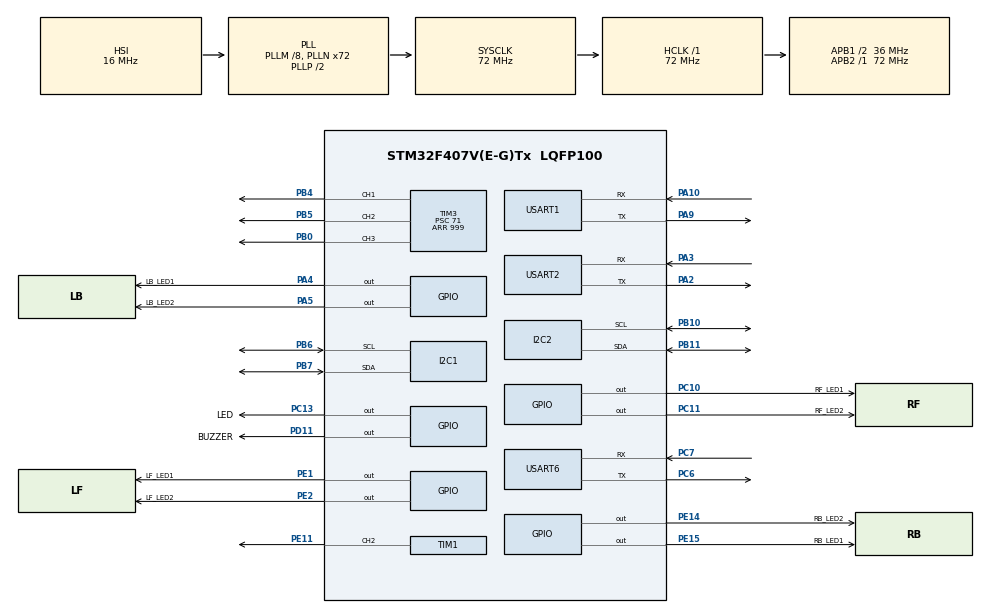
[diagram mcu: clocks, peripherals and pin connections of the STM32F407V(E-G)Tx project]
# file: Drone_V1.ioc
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Dma.I2C2_RX.2.Direction=DMA_PERIPH_TO_MEMORY
Dma.I2C2_RX.2.FIFOMode=DMA_FIFOMODE_DISABLE
Dma.I2C2_RX.2.Instance=DMA1_Stream2
Dma.I2C2_RX.2.MemDataAlignment=DMA_MDATAALIGN_BYTE
Dma.I2C2_RX.2.MemInc=DMA_MINC_ENABLE
Dma.I2C2_RX.2.Mode=DMA_NORMAL
Dma.I2C2_RX.2.PeriphDataAlignment=DMA_PDATAALIGN_BYTE
Dma.I2C2_RX.2.PeriphInc=DMA_PINC_DISABLE
Dma.I2C2_RX.2.Priority=DMA_PRIORITY_LOW
Dma.Request0=USART2_RX
Dma.Request1=USART1_RX
Dma.Request2=I2C2_RX
Dma.Request3=USART6_RX
Dma.USART1_RX.1.Direction=DMA_PERIPH_TO_MEMORY
Dma.USART1_RX.1.FIFOMode=DMA_FIFOMODE_DISABLE
Dma.USART1_RX.1.Instance=DMA2_Stream2
Dma.USART1_RX.1.MemDataAlignment=DMA_MDATAALIGN_BYTE
Dma.USART1_RX.1.MemInc=DMA_MINC_ENABLE
Dma.USART1_RX.1.Mode=DMA_NORMAL
Dma.USART1_RX.1.PeriphDataAlignment=DMA_PDATAALIGN_BYTE
Dma.USART1_RX.1.PeriphInc=DMA_PINC_DISABLE
Dma.USART1_RX.1.Priority=DMA_PRIORITY_LOW
Dma.USART2_RX.0.Direction=DMA_PERIPH_TO_MEMORY
Dma.USART2_RX.0.FIFOMode=DMA_FIFOMODE_DISABLE
Dma.USART2_RX.0.Instance=DMA1_Stream5
Dma.USART2_RX.0.MemDataAlignment=DMA_MDATAALIGN_BYTE
Dma.USART2_RX.0.MemInc=DMA_MINC_ENABLE
Dma.USART2_RX.0.Mode=DMA_NORMAL
Dma.USART2_RX.0.PeriphDataAlignment=DMA_PDATAALIGN_BYTE
Dma.USART2_RX.0.PeriphInc=DMA_PINC_DISABLE
Dma.USART2_RX.0.Priority=DMA_PRIORITY_LOW
Dma.USART6_RX.3.Direction=DMA_PERIPH_TO_MEMORY
Dma.USART6_RX.3.FIFOMode=DMA_FIFOMODE_DISABLE
Dma.USART6_RX.3.Instance=DMA2_Stream1
Dma.USART6_RX.3.MemDataAlignment=DMA_MDATAALIGN_BYTE
Dma.USART6_RX.3.MemInc=DMA_MINC_ENABLE
Dma.USART6_RX.3.Mode=DMA_NORMAL
Dma.USART6_RX.3.PeriphDataAlignment=DMA_PDATAALIGN_BYTE
Dma.USART6_RX.3.PeriphInc=DMA_PINC_DISABLE
Dma.USART6_RX.3.Priority=DMA_PRIORITY_LOW
I2C2.I2C_Mode=I2C_Fast
Mcu.Family=STM32F4
Mcu.Name=STM32F407V(E-G)Tx
Mcu.Package=LQFP100
NVIC.DMA1_Stream2_IRQn=true\:0\:0\:false\:false\:true\:false\:true\:true
NVIC.DMA1_Stream5_IRQn=true\:0\:0\:false\:false\:true\:false\:true\:true
NVIC.DMA2_Stream1_IRQn=true\:0\:0\:false\:false\:true\:false\:true\:true
NVIC.DMA2_Stream2_IRQn=true\:0\:0\:false\:false\:true\:false\:true\:true
NVIC.PriorityGroup=NVIC_PRIORITYGROUP_4
NVIC.TIM4_IRQn=true\:1\:0\:true\:false\:true\:true\:true\:true
NVIC.TIM8_CC_IRQn=true\:0\:0\:true\:false\:true\:true\:true\:true
PA10.Mode=Asynchronous
PA10.Signal=USART1_RX
PA13.Mode=Serial_Wire
PA13.Signal=SYS_JTMS-SWDIO
PA14.Mode=Serial_Wire
PA14.Signal=SYS_JTCK-SWCLK
PA2.Mode=Asynchronous
PA2.Signal=USART2_TX
PA3.Mode=Asynchronous
PA3.Signal=USART2_RX
PA4.GPIO_Label=LB_LED1
PA4.PinState=GPIO_PIN_RESET
PA4.Signal=GPIO_Output
PA5.GPIO_Label=LB_LED2
PA5.PinState=GPIO_PIN_RESET
PA5.Signal=GPIO_Output
PA9.Mode=Asynchronous
PA9.Signal=USART1_TX
PB0.Signal=S_TIM3_CH3
PB10.Mode=I2C
PB10.Signal=I2C2_SCL
PB11.Mode=I2C
PB11.Signal=I2C2_SDA
PB4.Signal=S_TIM3_CH1
PB5.Signal=S_TIM3_CH2
PB6.Mode=I2C
PB6.Signal=I2C1_SCL
PB7.Mode=I2C
PB7.Signal=I2C1_SDA
PC10.GPIO_Label=RF_LED1
PC10.PinState=GPIO_PIN_RESET
PC10.Signal=GPIO_Output
PC11.GPIO_Label=RF_LED2
PC11.PinState=GPIO_PIN_RESET
PC11.Signal=GPIO_Output
PC13-ANTI_TAMP.GPIO_Label=LED
PC13-ANTI_TAMP.Signal=GPIO_Output
PC6.Mode=Asynchronous
PC6.Signal=USART6_TX
PC7.Mode=Asynchronous
PC7.Signal=USART6_RX
PD11.GPIO_Label=BUZZER
PD11.PinState=GPIO_PIN_SET
PD11.Signal=GPIO_Output
PE1.GPIO_Label=LF_LED1
PE1.PinState=GPIO_PIN_RESET
PE1.Signal=GPIO_Output
PE11.Signal=S_TIM1_CH2
PE14.GPIO_Label=RB_LED2
PE14.PinState=GPIO_PIN_RESET
PE14.Signal=GPIO_Output
PE15.GPIO_Label=RB_LED1
PE15.PinState=GPIO_PIN_RESET
PE15.Signal=GPIO_Output
PE2.GPIO_Label=LF_LED2
PE2.PinState=GPIO_PIN_RESET
PE2.Signal=GPIO_Output
PH0-OSC_IN.Mode=HSE-External-Oscillator
PH0-OSC_IN.Signal=RCC_OSC_IN
PH1-OSC_OUT.Mode=HSE-External-Oscillator
PH1-OSC_OUT.Signal=RCC_OSC_OUT
ProjectManager.HeapSize=0x200
ProjectManager.StackSize=0x400
ProjectManager.TargetToolchain=STM32CubeIDE
RCC.48MHZClocksFreq_Value=36000000
RCC.AHBFreq_Value=72000000
RCC.APB1CLKDivider=RCC_HCLK_DIV2
RCC.APB1Freq_Value=36000000
RCC.APB1TimFreq_Value=72000000
RCC.APB2Freq_Value=72000000
RCC.APB2TimFreq_Value=72000000
RCC.CortexFreq_Value=72000000
RCC.HCLKFreq_Value=72000000
RCC.HSE_VALUE=25000000
RCC.HSI_VALUE=16000000
RCC.LSE_VALUE=32768
RCC.PLLM=8
RCC.PLLN=72
RCC.SYSCLKFreq_VALUE=72000000
RCC.SYSCLKSource=RCC_SYSCLKSOURCE_PLLCLK
RCC.VCOOutputFreq_Value=144000000
SH.S_TIM1_CH2.0=TIM1_CH2,PWM Generation2 CH2
SH.S_TIM3_CH1.0=TIM3_CH1,PWM Generation1 CH1
SH.S_TIM3_CH2.0=TIM3_CH2,PWM Generation2 CH2
SH.S_TIM3_CH3.0=TIM3_CH3,PWM Generation3 CH3
TIM1.Channel-PWM\ Generation2\ CH2=TIM_CHANNEL_2
TIM1.Period=19999
TIM1.Prescaler=71
TIM2.Prescaler=71
TIM3.Channel-PWM\ Generation1\ CH1=TIM_CHANNEL_1
TIM3.Channel-PWM\ Generation2\ CH2=TIM_CHANNEL_2
TIM3.Channel-PWM\ Generation3\ CH3=TIM_CHANNEL_3
TIM3.Period=999
TIM3.Prescaler=71
TIM4.AutoReloadPreload=TIM_AUTORELOAD_PRELOAD_ENABLE
TIM4.Period=8999
TIM4.Prescaler=3999
TIM5.Prescaler=71
TIM8.Channel-Output\ Compare2\ No\ Output=TIM_CHANNEL_2
TIM8.Channel-Output\ Compare3\ No\ Output=TIM_CHANNEL_3
TIM8.Channel-Output\ Compare4\ No\ Output=TIM_CHANNEL_4
TIM8.Period=999
TIM8.Prescaler=71
TIM8.Pulse-Output\ Compare2\ No\ Output=100
TIM8.Pulse-Output\ Compare3\ No\ Output=250
TIM8.Pulse-Output\ Compare4\ No\ Output=750
TIM9.Prescaler=7199
USART1.VirtualMode=VM_ASYNC
USART2.VirtualMode=VM_ASYNC
USART6.VirtualMode=VM_ASYNC
VP_TIM1_VS_ClockSourceINT.Mode=Internal
VP_TIM2_VS_ClockSourceINT.Mode=Internal
VP_TIM3_VS_ClockSourceINT.Mode=Internal
VP_TIM4_VS_ClockSourceINT.Mode=Internal
VP_TIM5_VS_ClockSourceINT.Mode=Internal
VP_TIM8_VS_ClockSourceINT.Mode=Internal
VP_TIM8_VS_no_output2.Mode=Output Compare2 No Output
VP_TIM8_VS_no_output3.Mode=Output Compare3 No Output
VP_TIM8_VS_no_output4.Mode=Output Compare4 No Output
VP_TIM9_VS_ClockSourceINT.Mode=Internal
board=custom

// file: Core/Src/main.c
/* USER CODE BEGIN Header */
/**
  ******************************************************************************
  * @file           : main.c
  * @brief          : Main program body
  ******************************************************************************
  * @attention
  *
  * Copyright (c) 2026 STMicroelectronics.
  * All rights reserved.
  *
  * This software is licensed under terms that can be found in the LICENSE file
  * in the root directory of this software component.
  * If no LICENSE file comes with this software, it is provided AS-IS.
  *
  ******************************************************************************
  */
/* USER CODE END Header */
#include "main.h"

/* USER CODE BEGIN Includes */
#include "MPU6050.h"
#include "WT61.h"
#include "PID.h"
#include "GAMEPAD.h"
#include "stdio.h"
#include "string.h"
#include "math.h"

/* USER CODE END Includes */

/* USER CODE BEGIN PD */

extern float roll, pitch;
volatile float angleZ;
extern HAL_StatusTypeDef status;

typedef enum {
	OK = 1,
	SENSOR_CALIBRATING = 2,
	GAMEPAD_DISCOVERY = 3,
	LOCK = 4,
	UNLOCKING = 5,

	ANGLE_STABILITY_FAULT = 0,
	SENSOR_CONNECTION_FAULT = 6,
	GAMEPAD_CONNECTION_FAULT = 7
} DroneStatus;

DroneStatus drone_status;

//int8_t DRONE_STATUS;

typedef enum {
	MOTOR_LF = 0,
	MOTOR_RF = 1,
	MOTOR_LB = 2,
	MOTOR_RB = 3
} MotorSystem;

MotorSystem drone_motor_system;

typedef struct {
	uint16_t MOTOR_LF_SPEED;
	uint16_t MOTOR_RF_SPEED;
	uint16_t MOTOR_LB_SPEED;
	uint16_t MOTOR_RB_SPEED;
	uint16_t throttle;
	uint8_t status;
	uint8_t last_speed_up;
	uint8_t last_speed_down;
} DroneParameters;

DroneParameters drone;
//uint8_t MOTOR_LF_SPEED = 50, MOTOR_RF_SPEED = 50, MOTOR_LB_SPEED = 50, MOTOR_RB_SPEED = 50;

PID roll_controller;
PID pitch_controller;
PID yaw_controller;

float roll_output = 0.0f, pitch_output = 0.0f, yaw_output = 0.0f;

uint32_t c_time = 0;
uint32_t prv_time = 0;
uint32_t duration = 0;

extern GAMEPAD gamepad;

/* USER CODE END PD */

I2C_HandleTypeDef hi2c1;
I2C_HandleTypeDef hi2c2;
DMA_HandleTypeDef hdma_i2c2_rx;

TIM_HandleTypeDef htim1;
TIM_HandleTypeDef htim2;
TIM_HandleTypeDef htim3;
TIM_HandleTypeDef htim4;
TIM_HandleTypeDef htim5;
TIM_HandleTypeDef htim8;
TIM_HandleTypeDef htim9;

UART_HandleTypeDef huart1;
UART_HandleTypeDef huart2;
UART_HandleTypeDef huart6;
DMA_HandleTypeDef hdma_usart1_rx;
DMA_HandleTypeDef hdma_usart2_rx;
DMA_HandleTypeDef hdma_usart6_rx;

void SystemClock_Config(void);
static void MX_GPIO_Init(void);
static void MX_DMA_Init(void);
static void MX_I2C2_Init(void);
static void MX_USART1_UART_Init(void);
static void MX_USART6_UART_Init(void);
static void MX_TIM3_Init(void);
static void MX_I2C1_Init(void);
static void MX_TIM2_Init(void);
static void MX_USART2_UART_Init(void);
static void MX_TIM4_Init(void);
static void MX_TIM1_Init(void);
static void MX_TIM5_Init(void);
static void MX_TIM8_Init(void);
static void MX_TIM9_Init(void);

/* USER CODE BEGIN 0 */
void I2C_ResetDataBusToPullUp(I2C_HandleTypeDef *hi2c);

void DRONE_SetStatus(int8_t STATUS);
void DRONE_SetSpeed(uint8_t MOTOR, uint16_t speed);
float DRONE_LimitThrottle(float throttle, float min_limit, float max_limit);
void DRONE_GamepadDiscovery(void);
void DRONE_GamepadDisconnectionFailSafe(void);
void DRONE_SensorCalibration(void);

void DRONE_ESCSetUp(void); // Plug in 'void' to show that the function does not require any parameters
void DRONE_Hover(uint16_t throttle);
void DRONE_ReceiveCommand();
void DRONE_Unlock();
void DRONE_OnFlight(uint16_t throttle);
void DRONE_EmergencyStop(float angle);

void DRONE_RollLeft();
void DRONE_RollRight();
void DRONE_PitchForward();
void DRONE_PitchBackward();
/* USER CODE END 0 */

int main(void)
{

  /* MCU Configuration--------------------------------------------------------*/

  /* Reset of all peripherals, Initializes the Flash interface and the Systick. */
  HAL_Init();

  /* Configure the system clock */
  SystemClock_Config();

  /* Initialize all configured peripherals */
  MX_GPIO_Init();
  MX_DMA_Init();
  MX_I2C2_Init();
  MX_USART1_UART_Init();
  MX_USART6_UART_Init();
  MX_TIM3_Init();
  MX_I2C1_Init();
  MX_TIM2_Init();
  MX_USART2_UART_Init();
  MX_TIM4_Init();
  MX_TIM1_Init();
  MX_TIM5_Init();
  MX_TIM8_Init();
  MX_TIM9_Init();
  /* USER CODE BEGIN 2 */
  HAL_TIM_Base_Start(&htim2);
  HAL_TIM_PWM_Start(&htim1, TIM_CHANNEL_2);
  HAL_TIM_PWM_Start(&htim3, TIM_CHANNEL_1);
  HAL_TIM_PWM_Start(&htim3, TIM_CHANNEL_2);
  HAL_TIM_PWM_Start(&htim3, TIM_CHANNEL_3);

  /* Prevent I2C Devices from pulling the data bus LOW
  from previous working time + Send a 'STOP' signal */
  I2C_ResetDataBusToPullUp(&hi2c2);

  if(status != HAL_OK){
	  DRONE_SetStatus(SENSOR_CONNECTION_FAULT);
  }
  else{
	  /* The WT61 sensor is specifically used for 'YAW' angle (angleZ) measurement */
	    WT61_Init(&huart1);

	    /* The MPU-6050 sensor measures 'ROLL' angle (angleX) and 'PITCH' angle (angleY)  */
	    MPU6050_Init(&hi2c2, &htim2);

	    /* Calibrate IMU Sensor for at least 2000 milliseconds */
	    DRONE_SetStatus(SENSOR_CALIBRATING);
	    MPU6050_Calibrate(2000);

	    DRONE_SetStatus(OK);
	    /* Send 'START' signal to ESCs */
	    DRONE_ESCSetUp();

	    HAL_TIM_Base_Start_IT(&htim8);
	    HAL_TIM_OC_Start_IT(&htim8, TIM_CHANNEL_2);
	    HAL_TIM_OC_Start_IT(&htim8, TIM_CHANNEL_3);

	    PID_Init(&pitch_controller, 0.0f, 0.0f);
	    PID_Init(&roll_controller, 1000.0f, 2000.0f);
	    PID_Init(&yaw_controller, 0.0f, 0.0f);

	    PID_SetParameters(&roll_controller, 1.5f, 0.01f, 20.0f, 0.0f, roll);
	    HAL_TIM_Base_Start(&htim5);

	    GAMEPAD_Init(&huart6);
	    GAMEPAD_ReceiveData();
	    DRONE_SetStatus(LOCK);

  }

  /* USER CODE END 2 */

  /* Infinite loop */
  /* USER CODE BEGIN WHILE */
  while (1)
  {
	  if(drone.status == UNLOCKING){
		  DRONE_ESCSetUp();
		  DRONE_SetStatus(OK);
	  }

	  if(drone.status == OK){
		  if(roll > 20.0f){
			HAL_GPIO_WritePin(LF_LED1_GPIO_Port, LF_LED1_Pin, 1);
			HAL_GPIO_WritePin(RF_LED1_GPIO_Port, RF_LED1_Pin, 0);
		}
		else if(roll < -20.0f){
			HAL_GPIO_WritePin(LF_LED1_GPIO_Port, LF_LED1_Pin, 0);
			HAL_GPIO_WritePin(RF_LED1_GPIO_Port, RF_LED1_Pin, 1);
		}
		else if(pitch < -20.0f){
			HAL_GPIO_WritePin(LF_LED1_GPIO_Port, LF_LED1_Pin, 1);
			HAL_GPIO_WritePin(RF_LED1_GPIO_Port, RF_LED1_Pin, 1);
		}
		else if(pitch > 20.0f){

		}
		else{
			HAL_GPIO_WritePin(LF_LED1_GPIO_Port, LF_LED1_Pin, 0);
			HAL_GPIO_WritePin(RF_LED1_GPIO_Port, RF_LED1_Pin, 0);

		}
	  }

	  	//	  	pitch_controller->output = PID_Update(pid, angleY, dt;)
    /* USER CODE END WHILE */

  }
}

void SystemClock_Config(void)
{
  RCC_OscInitTypeDef RCC_OscInitStruct = {0};
  RCC_ClkInitTypeDef RCC_ClkInitStruct = {0};

  /** Configure the main internal regulator output voltage
  */
  __HAL_RCC_PWR_CLK_ENABLE();
  __HAL_PWR_VOLTAGESCALING_CONFIG(PWR_REGULATOR_VOLTAGE_SCALE1);

  /** Initializes the RCC Oscillators according to the specified parameters
  * in the RCC_OscInitTypeDef structure.
  */
  RCC_OscInitStruct.OscillatorType = RCC_OSCILLATORTYPE_HSI;
  RCC_OscInitStruct.HSIState = RCC_HSI_ON;
  RCC_OscInitStruct.HSICalibrationValue = RCC_HSICALIBRATION_DEFAULT;
  RCC_OscInitStruct.PLL.PLLState = RCC_PLL_ON;
  RCC_OscInitStruct.PLL.PLLSource = RCC_PLLSOURCE_HSI;
  RCC_OscInitStruct.PLL.PLLM = 8;
  RCC_OscInitStruct.PLL.PLLN = 72;
  RCC_OscInitStruct.PLL.PLLP = RCC_PLLP_DIV2;
  RCC_OscInitStruct.PLL.PLLQ = 4;
  if (HAL_RCC_OscConfig(&RCC_OscInitStruct) != HAL_OK)
  {
    Error_Handler();
  }

  /** Initializes the CPU, AHB and APB buses clocks
  */
  RCC_ClkInitStruct.ClockType = RCC_CLOCKTYPE_HCLK|RCC_CLOCKTYPE_SYSCLK
                              |RCC_CLOCKTYPE_PCLK1|RCC_CLOCKTYPE_PCLK2;
  RCC_ClkInitStruct.SYSCLKSource = RCC_SYSCLKSOURCE_PLLCLK;
  RCC_ClkInitStruct.AHBCLKDivider = RCC_SYSCLK_DIV1;
  RCC_ClkInitStruct.APB1CLKDivider = RCC_HCLK_DIV2;
  RCC_ClkInitStruct.APB2CLKDivider = RCC_HCLK_DIV1;

  if (HAL_RCC_ClockConfig(&RCC_ClkInitStruct, FLASH_LATENCY_2) != HAL_OK)
  {
    Error_Handler();
  }
}

static void MX_I2C1_Init(void)
{

  hi2c1.Instance = I2C1;
  hi2c1.Init.ClockSpeed = 100000;
  hi2c1.Init.DutyCycle = I2C_DUTYCYCLE_2;
  hi2c1.Init.OwnAddress1 = 0;
  hi2c1.Init.AddressingMode = I2C_ADDRESSINGMODE_7BIT;
  hi2c1.Init.DualAddressMode = I2C_DUALADDRESS_DISABLE;
  hi2c1.Init.OwnAddress2 = 0;
  hi2c1.Init.GeneralCallMode = I2C_GENERALCALL_DISABLE;
  hi2c1.Init.NoStretchMode = I2C_NOSTRETCH_DISABLE;
  if (HAL_I2C_Init(&hi2c1) != HAL_OK)
  {
    Error_Handler();
  }

}

static void MX_I2C2_Init(void)
{

  hi2c2.Instance = I2C2;
  hi2c2.Init.ClockSpeed = 400000;
  hi2c2.Init.DutyCycle = I2C_DUTYCYCLE_2;
  hi2c2.Init.OwnAddress1 = 0;
  hi2c2.Init.AddressingMode = I2C_ADDRESSINGMODE_7BIT;
  hi2c2.Init.DualAddressMode = I2C_DUALADDRESS_DISABLE;
  hi2c2.Init.OwnAddress2 = 0;
  hi2c2.Init.GeneralCallMode = I2C_GENERALCALL_DISABLE;
  hi2c2.Init.NoStretchMode = I2C_NOSTRETCH_DISABLE;
  if (HAL_I2C_Init(&hi2c2) != HAL_OK)
  {
    Error_Handler();
  }

}

static void MX_TIM1_Init(void)
{

  TIM_ClockConfigTypeDef sClockSourceConfig = {0};
  TIM_MasterConfigTypeDef sMasterConfig = {0};
  TIM_OC_InitTypeDef sConfigOC = {0};
  TIM_BreakDeadTimeConfigTypeDef sBreakDeadTimeConfig = {0};

  htim1.Instance = TIM1;
  htim1.Init.Prescaler = 71;
  htim1.Init.CounterMode = TIM_COUNTERMODE_UP;
  htim1.Init.Period = 19999;
  htim1.Init.ClockDivision = TIM_CLOCKDIVISION_DIV1;
  htim1.Init.RepetitionCounter = 0;
  htim1.Init.AutoReloadPreload = TIM_AUTORELOAD_PRELOAD_DISABLE;
  if (HAL_TIM_Base_Init(&htim1) != HAL_OK)
  {
    Error_Handler();
  }
  sClockSourceConfig.ClockSource = TIM_CLOCKSOURCE_INTERNAL;
  if (HAL_TIM_ConfigClockSource(&htim1, &sClockSourceConfig) != HAL_OK)
  {
    Error_Handler();
  }
  if (HAL_TIM_PWM_Init(&htim1) != HAL_OK)
  {
    Error_Handler();
  }
  sMasterConfig.MasterOutputTrigger = TIM_TRGO_RESET;
  sMasterConfig.MasterSlaveMode = TIM_MASTERSLAVEMODE_DISABLE;
  if (HAL_TIMEx_MasterConfigSynchronization(&htim1, &sMasterConfig) != HAL_OK)
  {
    Error_Handler();
  }
  sConfigOC.OCMode = TIM_OCMODE_PWM1;
  sConfigOC.Pulse = 0;
  sConfigOC.OCPolarity = TIM_OCPOLARITY_HIGH;
  sConfigOC.OCNPolarity = TIM_OCNPOLARITY_HIGH;
  sConfigOC.OCFastMode = TIM_OCFAST_DISABLE;
  sConfigOC.OCIdleState = TIM_OCIDLESTATE_RESET;
  sConfigOC.OCNIdleState = TIM_OCNIDLESTATE_RESET;
  if (HAL_TIM_PWM_ConfigChannel(&htim1, &sConfigOC, TIM_CHANNEL_2) != HAL_OK)
  {
    Error_Handler();
  }
  sBreakDeadTimeConfig.OffStateRunMode = TIM_OSSR_DISABLE;
  sBreakDeadTimeConfig.OffStateIDLEMode = TIM_OSSI_DISABLE;
  sBreakDeadTimeConfig.LockLevel = TIM_LOCKLEVEL_OFF;
  sBreakDeadTimeConfig.DeadTime = 0;
  sBreakDeadTimeConfig.BreakState = TIM_BREAK_DISABLE;
  sBreakDeadTimeConfig.BreakPolarity = TIM_BREAKPOLARITY_HIGH;
  sBreakDeadTimeConfig.AutomaticOutput = TIM_AUTOMATICOUTPUT_DISABLE;
  if (HAL_TIMEx_ConfigBreakDeadTime(&htim1, &sBreakDeadTimeConfig) != HAL_OK)
  {
    Error_Handler();
  }
  HAL_TIM_MspPostInit(&htim1);

}

static void MX_TIM2_Init(void)
{

  TIM_ClockConfigTypeDef sClockSourceConfig = {0};
  TIM_MasterConfigTypeDef sMasterConfig = {0};

  htim2.Instance = TIM2;
  htim2.Init.Prescaler = 71;
  htim2.Init.CounterMode = TIM_COUNTERMODE_UP;
  htim2.Init.Period = 4294967295;
  htim2.Init.ClockDivision = TIM_CLOCKDIVISION_DIV1;
  htim2.Init.AutoReloadPreload = TIM_AUTORELOAD_PRELOAD_DISABLE;
  if (HAL_TIM_Base_Init(&htim2) != HAL_OK)
  {
    Error_Handler();
  }
  sClockSourceConfig.ClockSource = TIM_CLOCKSOURCE_INTERNAL;
  if (HAL_TIM_ConfigClockSource(&htim2, &sClockSourceConfig) != HAL_OK)
  {
    Error_Handler();
  }
  sMasterConfig.MasterOutputTrigger = TIM_TRGO_RESET;
  sMasterConfig.MasterSlaveMode = TIM_MASTERSLAVEMODE_DISABLE;
  if (HAL_TIMEx_MasterConfigSynchronization(&htim2, &sMasterConfig) != HAL_OK)
  {
    Error_Handler();
  }

}

static void MX_TIM3_Init(void)
{

  TIM_ClockConfigTypeDef sClockSourceConfig = {0};
  TIM_MasterConfigTypeDef sMasterConfig = {0};
  TIM_OC_InitTypeDef sConfigOC = {0};

  htim3.Instance = TIM3;
  htim3.Init.Prescaler = 71;
  htim3.Init.CounterMode = TIM_COUNTERMODE_UP;
  htim3.Init.Period = 19999;
  htim3.Init.ClockDivision = TIM_CLOCKDIVISION_DIV1;
  htim3.Init.AutoReloadPreload = TIM_AUTORELOAD_PRELOAD_DISABLE;
  if (HAL_TIM_Base_Init(&htim3) != HAL_OK)
  {
    Error_Handler();
  }
  sClockSourceConfig.ClockSource = TIM_CLOCKSOURCE_INTERNAL;
  if (HAL_TIM_ConfigClockSource(&htim3, &sClockSourceConfig) != HAL_OK)
  {
    Error_Handler();
  }
  if (HAL_TIM_PWM_Init(&htim3) != HAL_OK)
  {
    Error_Handler();
  }
  sMasterConfig.MasterOutputTrigger = TIM_TRGO_RESET;
  sMasterConfig.MasterSlaveMode = TIM_MASTERSLAVEMODE_DISABLE;
  if (HAL_TIMEx_MasterConfigSynchronization(&htim3, &sMasterConfig) != HAL_OK)
  {
    Error_Handler();
  }
  sConfigOC.OCMode = TIM_OCMODE_PWM1;
  sConfigOC.Pulse = 0;
  sConfigOC.OCPolarity = TIM_OCPOLARITY_HIGH;
  sConfigOC.OCFastMode = TIM_OCFAST_DISABLE;
  if (HAL_TIM_PWM_ConfigChannel(&htim3, &sConfigOC, TIM_CHANNEL_1) != HAL_OK)
  {
    Error_Handler();
  }
  if (HAL_TIM_PWM_ConfigChannel(&htim3, &sConfigOC, TIM_CHANNEL_2) != HAL_OK)
  {
    Error_Handler();
  }
  if (HAL_TIM_PWM_ConfigChannel(&htim3, &sConfigOC, TIM_CHANNEL_3) != HAL_OK)
  {
    Error_Handler();
  }
  HAL_TIM_MspPostInit(&htim3);

}

static void MX_TIM4_Init(void)
{

  TIM_ClockConfigTypeDef sClockSourceConfig = {0};
  TIM_MasterConfigTypeDef sMasterConfig = {0};

  htim4.Instance = TIM4;
  htim4.Init.Prescaler = 3999;
  htim4.Init.CounterMode = TIM_COUNTERMODE_UP;
  htim4.Init.Period = 8999;
  htim4.Init.ClockDivision = TIM_CLOCKDIVISION_DIV1;
  htim4.Init.AutoReloadPreload = TIM_AUTORELOAD_PRELOAD_ENABLE;
  if (HAL_TIM_Base_Init(&htim4) != HAL_OK)
  {
    Error_Handler();
  }
  sClockSourceConfig.ClockSource = TIM_CLOCKSOURCE_INTERNAL;
  if (HAL_TIM_ConfigClockSource(&htim4, &sClockSourceConfig) != HAL_OK)
  {
    Error_Handler();
  }
  sMasterConfig.MasterOutputTrigger = TIM_TRGO_RESET;
  sMasterConfig.MasterSlaveMode = TIM_MASTERSLAVEMODE_DISABLE;
  if (HAL_TIMEx_MasterConfigSynchronization(&htim4, &sMasterConfig) != HAL_OK)
  {
    Error_Handler();
  }

}

static void MX_TIM5_Init(void)
{

  TIM_ClockConfigTypeDef sClockSourceConfig = {0};
  TIM_MasterConfigTypeDef sMasterConfig = {0};

  htim5.Instance = TIM5;
  htim5.Init.Prescaler = 71;
  htim5.Init.CounterMode = TIM_COUNTERMODE_UP;
  htim5.Init.Period = 4294967295;
  htim5.Init.ClockDivision = TIM_CLOCKDIVISION_DIV1;
  htim5.Init.AutoReloadPreload = TIM_AUTORELOAD_PRELOAD_DISABLE;
  if (HAL_TIM_Base_Init(&htim5) != HAL_OK)
  {
    Error_Handler();
  }
  sClockSourceConfig.ClockSource = TIM_CLOCKSOURCE_INTERNAL;
  if (HAL_TIM_ConfigClockSource(&htim5, &sClockSourceConfig) != HAL_OK)
  {
    Error_Handler();
  }
  sMasterConfig.MasterOutputTrigger = TIM_TRGO_RESET;
  sMasterConfig.MasterSlaveMode = TIM_MASTERSLAVEMODE_DISABLE;
  if (HAL_TIMEx_MasterConfigSynchronization(&htim5, &sMasterConfig) != HAL_OK)
  {
    Error_Handler();
  }

}

static void MX_TIM8_Init(void)
{

  TIM_ClockConfigTypeDef sClockSourceConfig = {0};
  TIM_MasterConfigTypeDef sMasterConfig = {0};
  TIM_OC_InitTypeDef sConfigOC = {0};
  TIM_BreakDeadTimeConfigTypeDef sBreakDeadTimeConfig = {0};

  htim8.Instance = TIM8;
  htim8.Init.Prescaler = 71;
  htim8.Init.CounterMode = TIM_COUNTERMODE_UP;
  htim8.Init.Period = 999;
  htim8.Init.ClockDivision = TIM_CLOCKDIVISION_DIV1;
  htim8.Init.RepetitionCounter = 0;
  htim8.Init.AutoReloadPreload = TIM_AUTORELOAD_PRELOAD_DISABLE;
  if (HAL_TIM_Base_Init(&htim8) != HAL_OK)
  {
    Error_Handler();
  }
  sClockSourceConfig.ClockSource = TIM_CLOCKSOURCE_INTERNAL;
  if (HAL_TIM_ConfigClockSource(&htim8, &sClockSourceConfig) != HAL_OK)
  {
    Error_Handler();
  }
  if (HAL_TIM_OC_Init(&htim8) != HAL_OK)
  {
    Error_Handler();
  }
  sMasterConfig.MasterOutputTrigger = TIM_TRGO_RESET;
  sMasterConfig.MasterSlaveMode = TIM_MASTERSLAVEMODE_DISABLE;
  if (HAL_TIMEx_MasterConfigSynchronization(&htim8, &sMasterConfig) != HAL_OK)
  {
    Error_Handler();
  }
  sConfigOC.OCMode = TIM_OCMODE_TIMING;
  sConfigOC.Pulse = 100;
  sConfigOC.OCPolarity = TIM_OCPOLARITY_HIGH;
  sConfigOC.OCNPolarity = TIM_OCNPOLARITY_HIGH;
  sConfigOC.OCFastMode = TIM_OCFAST_DISABLE;
  sConfigOC.OCIdleState = TIM_OCIDLESTATE_RESET;
  sConfigOC.OCNIdleState = TIM_OCNIDLESTATE_RESET;
  if (HAL_TIM_OC_ConfigChannel(&htim8, &sConfigOC, TIM_CHANNEL_2) != HAL_OK)
  {
    Error_Handler();
  }
  sConfigOC.Pulse = 250;
  if (HAL_TIM_OC_ConfigChannel(&htim8, &sConfigOC, TIM_CHANNEL_3) != HAL_OK)
  {
    Error_Handler();
  }
  sConfigOC.Pulse = 750;
  if (HAL_TIM_OC_ConfigChannel(&htim8, &sConfigOC, TIM_CHANNEL_4) != HAL_OK)
  {
    Error_Handler();
  }
  sBreakDeadTimeConfig.OffStateRunMode = TIM_OSSR_DISABLE;
  sBreakDeadTimeConfig.OffStateIDLEMode = TIM_OSSI_DISABLE;
  sBreakDeadTimeConfig.LockLevel = TIM_LOCKLEVEL_OFF;
  sBreakDeadTimeConfig.DeadTime = 0;
  sBreakDeadTimeConfig.BreakState = TIM_BREAK_DISABLE;
  sBreakDeadTimeConfig.BreakPolarity = TIM_BREAKPOLARITY_HIGH;
  sBreakDeadTimeConfig.AutomaticOutput = TIM_AUTOMATICOUTPUT_DISABLE;
  if (HAL_TIMEx_ConfigBreakDeadTime(&htim8, &sBreakDeadTimeConfig) != HAL_OK)
  {
    Error_Handler();
  }

}

static void MX_TIM9_Init(void)
{

  TIM_ClockConfigTypeDef sClockSourceConfig = {0};

  htim9.Instance = TIM9;
  htim9.Init.Prescaler = 7199;
  htim9.Init.CounterMode = TIM_COUNTERMODE_UP;
  htim9.Init.Period = 65535;
  htim9.Init.ClockDivision = TIM_CLOCKDIVISION_DIV1;
  htim9.Init.AutoReloadPreload = TIM_AUTORELOAD_PRELOAD_DISABLE;
  if (HAL_TIM_Base_Init(&htim9) != HAL_OK)
  {
    Error_Handler();
  }
  sClockSourceConfig.ClockSource = TIM_CLOCKSOURCE_INTERNAL;
  if (HAL_TIM_ConfigClockSource(&htim9, &sClockSourceConfig) != HAL_OK)
  {
    Error_Handler();
  }

}

static void MX_USART1_UART_Init(void)
{

  huart1.Instance = USART1;
  huart1.Init.BaudRate = 115200;
  huart1.Init.WordLength = UART_WORDLENGTH_8B;
  huart1.Init.StopBits = UART_STOPBITS_1;
  huart1.Init.Parity = UART_PARITY_NONE;
  huart1.Init.Mode = UART_MODE_TX_RX;
  huart1.Init.HwFlowCtl = UART_HWCONTROL_NONE;
  huart1.Init.OverSampling = UART_OVERSAMPLING_16;
  if (HAL_UART_Init(&huart1) != HAL_OK)
  {
    Error_Handler();
  }

}

static void MX_USART2_UART_Init(void)
{

  huart2.Instance = USART2;
  huart2.Init.BaudRate = 115200;
  huart2.Init.WordLength = UART_WORDLENGTH_8B;
  huart2.Init.StopBits = UART_STOPBITS_1;
  huart2.Init.Parity = UART_PARITY_NONE;
  huart2.Init.Mode = UART_MODE_TX_RX;
  huart2.Init.HwFlowCtl = UART_HWCONTROL_NONE;
  huart2.Init.OverSampling = UART_OVERSAMPLING_16;
  if (HAL_UART_Init(&huart2) != HAL_OK)
  {
    Error_Handler();
  }

}

static void MX_USART6_UART_Init(void)
{

  huart6.Instance = USART6;
  huart6.Init.BaudRate = 115200;
  huart6.Init.WordLength = UART_WORDLENGTH_8B;
  huart6.Init.StopBits = UART_STOPBITS_1;
  huart6.Init.Parity = UART_PARITY_NONE;
  huart6.Init.Mode = UART_MODE_TX_RX;
  huart6.Init.HwFlowCtl = UART_HWCONTROL_NONE;
  huart6.Init.OverSampling = UART_OVERSAMPLING_16;
  if (HAL_UART_Init(&huart6) != HAL_OK)
  {
    Error_Handler();
  }

}

static void MX_DMA_Init(void)
{

  /* DMA controller clock enable */
  __HAL_RCC_DMA1_CLK_ENABLE();
  __HAL_RCC_DMA2_CLK_ENABLE();

  /* DMA interrupt init */
  /* DMA1_Stream2_IRQn interrupt configuration */
  HAL_NVIC_SetPriority(DMA1_Stream2_IRQn, 0, 0);
  HAL_NVIC_EnableIRQ(DMA1_Stream2_IRQn);
  /* DMA1_Stream5_IRQn interrupt configuration */
  HAL_NVIC_SetPriority(DMA1_Stream5_IRQn, 0, 0);
  HAL_NVIC_EnableIRQ(DMA1_Stream5_IRQn);
  /* DMA2_Stream1_IRQn interrupt configuration */
  HAL_NVIC_SetPriority(DMA2_Stream1_IRQn, 0, 0);
  HAL_NVIC_EnableIRQ(DMA2_Stream1_IRQn);
  /* DMA2_Stream2_IRQn interrupt configuration */
  HAL_NVIC_SetPriority(DMA2_Stream2_IRQn, 0, 0);
  HAL_NVIC_EnableIRQ(DMA2_Stream2_IRQn);

}

static void MX_GPIO_Init(void)
{
  GPIO_InitTypeDef GPIO_InitStruct = {0};

  /* GPIO Ports Clock Enable */
  __HAL_RCC_GPIOE_CLK_ENABLE();
  __HAL_RCC_GPIOC_CLK_ENABLE();
  __HAL_RCC_GPIOH_CLK_ENABLE();
  __HAL_RCC_GPIOA_CLK_ENABLE();
  __HAL_RCC_GPIOB_CLK_ENABLE();
  __HAL_RCC_GPIOD_CLK_ENABLE();

  /*Configure GPIO pin Output Level */
  HAL_GPIO_WritePin(GPIOE, LF_LED2_Pin|RB_LED2_Pin|RB_LED1_Pin|LF_LED1_Pin, GPIO_PIN_RESET);

  /*Configure GPIO pin Output Level */
  HAL_GPIO_WritePin(GPIOC, LED_Pin|RF_LED1_Pin|RF_LED2_Pin, GPIO_PIN_RESET);

  /*Configure GPIO pin Output Level */
  HAL_GPIO_WritePin(GPIOA, LB_LED1_Pin|LB_LED2_Pin, GPIO_PIN_RESET);

  /*Configure GPIO pin Output Level */
  HAL_GPIO_WritePin(BUZZER_GPIO_Port, BUZZER_Pin, GPIO_PIN_SET);

  /*Configure GPIO pins : LF_LED2_Pin RB_LED2_Pin RB_LED1_Pin LF_LED1_Pin */
  GPIO_InitStruct.Pin = LF_LED2_Pin|RB_LED2_Pin|RB_LED1_Pin|LF_LED1_Pin;
  GPIO_InitStruct.Mode = GPIO_MODE_OUTPUT_PP;
  GPIO_InitStruct.Pull = GPIO_NOPULL;
  GPIO_InitStruct.Speed = GPIO_SPEED_FREQ_LOW;
  HAL_GPIO_Init(GPIOE, &GPIO_InitStruct);

  /*Configure GPIO pins : LED_Pin RF_LED1_Pin RF_LED2_Pin */
  GPIO_InitStruct.Pin = LED_Pin|RF_LED1_Pin|RF_LED2_Pin;
  GPIO_InitStruct.Mode = GPIO_MODE_OUTPUT_PP;
  GPIO_InitStruct.Pull = GPIO_NOPULL;
  GPIO_InitStruct.Speed = GPIO_SPEED_FREQ_LOW;
  HAL_GPIO_Init(GPIOC, &GPIO_InitStruct);

  /*Configure GPIO pins : LB_LED1_Pin LB_LED2_Pin */
  GPIO_InitStruct.Pin = LB_LED1_Pin|LB_LED2_Pin;
  GPIO_InitStruct.Mode = GPIO_MODE_OUTPUT_PP;
  GPIO_InitStruct.Pull = GPIO_NOPULL;
  GPIO_InitStruct.Speed = GPIO_SPEED_FREQ_LOW;
  HAL_GPIO_Init(GPIOA, &GPIO_InitStruct);

  /*Configure GPIO pin : BUZZER_Pin */
  GPIO_InitStruct.Pin = BUZZER_Pin;
  GPIO_InitStruct.Mode = GPIO_MODE_OUTPUT_PP;
  GPIO_InitStruct.Pull = GPIO_NOPULL;
  GPIO_InitStruct.Speed = GPIO_SPEED_FREQ_LOW;
  HAL_GPIO_Init(BUZZER_GPIO_Port, &GPIO_InitStruct);

}

/* USER CODE BEGIN 4 */

uint8_t numarray[40];

void sendUART(){
	sprintf((char*)numarray, "Roll: %d | Pitch: %d | Yaw: %d\n", (int)roll, (int)pitch, (int)angleZ);
	HAL_UART_Transmit(&huart6, numarray, strlen((char*)numarray), 500);
}

void I2C_ResetDataBusToPullUp(I2C_HandleTypeDef *hi2c){
	GPIO_InitTypeDef GPIO_InitStruct = {0};
	status = HAL_I2C_IsDeviceReady(hi2c, (0x68<<1), 20, 100);

	if (status != HAL_OK){
		//1. Deinitialize I2C peripheral
		HAL_I2C_DeInit(hi2c);

		//2. Configure both SCL and SDA as GPIO open-drain outputs
		GPIO_InitStruct.Mode = GPIO_MODE_OUTPUT_OD;
		GPIO_InitStruct.Pull = GPIO_NOPULL;
		GPIO_InitStruct.Speed = GPIO_SPEED_LOW;
		GPIO_InitStruct.Pin = GPIO_PIN_10 | GPIO_PIN_11; //SCL and SDA
		HAL_GPIO_Init(GPIOB, &GPIO_InitStruct);

		//3. By default, set both SCL and SDA pin to HIGH level
		HAL_GPIO_WritePin(GPIOB, GPIO_PIN_10, GPIO_PIN_SET); //SCL
		HAL_GPIO_WritePin(GPIOB, GPIO_PIN_11, GPIO_PIN_SET); //SDA
		//--> If the I2C data buses is BUSY (stuck), SDA is constantly pulled LOW by a slave
		HAL_Delay(2);

		//--> So, we gives the slave some chances to release SDA to idle state and recover the data buses
		for (int i = 0; i < 9; i++) {
			//4.1. If SCL's pulled HIGH and SDA's pulled HIGH
			//--> Then, the data buses now are released to Idle State
			//--> It means data buses now are no longer stuck
			if(HAL_GPIO_ReadPin(GPIOB, GPIO_PIN_11) == GPIO_PIN_SET){
				break;
			}
			//4.2. Pull the SCL pin to LOW -> Gives slave a chance to release SDA
			//The reason is that slave can only change SDA state when SCL is pulled LOW
			HAL_GPIO_WritePin(GPIOB, GPIO_PIN_10, GPIO_PIN_RESET);
			HAL_Delay(2);
			//5. Now, pull the SCL pin to HIGH again to continue to check Step 4.1
			HAL_GPIO_WritePin(GPIOB, GPIO_PIN_11, GPIO_PIN_SET);
			HAL_Delay(2);
		}

		//6. After successful recovering SDA to its idle state, we send 'STOP' signal to all slaves
		//The principle is: change SDA state from LOW to HIGH while SCL is pulled HIGH
		HAL_GPIO_WritePin(GPIOB, GPIO_PIN_11, GPIO_PIN_SET); //SCL is pulled HIGH
		HAL_GPIO_WritePin(GPIOB, GPIO_PIN_10, GPIO_PIN_RESET); //SDA from LOW
		HAL_Delay(2);
		HAL_GPIO_WritePin(GPIOB, GPIO_PIN_10, GPIO_PIN_SET); //SDA to HIGH
		HAL_Delay(2);

		//7. Reinitialize the I2C peripheral
		MX_I2C2_Init();

		//8. Check data buses state again for debugging
		status = HAL_I2C_IsDeviceReady(hi2c, (0x68<<1), 20, 100);
		if (status == HAL_OK){
			return;
		}
		else{}
	}
}

void HAL_TIM_PeriodElapsedCallback(TIM_HandleTypeDef *htim)
{
  if(htim->Instance == TIM4){
	  if(drone.status == SENSOR_CALIBRATING){
		  HAL_GPIO_TogglePin(LED_GPIO_Port, LED_Pin);
	  }
	  else if(drone.status == SENSOR_CONNECTION_FAULT){
		  HAL_GPIO_TogglePin(LF_LED1_GPIO_Port, LF_LED1_Pin);
		  HAL_GPIO_TogglePin(RF_LED1_GPIO_Port, RF_LED1_Pin);
		  HAL_GPIO_TogglePin(LB_LED2_GPIO_Port, LB_LED2_Pin);
		  HAL_GPIO_TogglePin(RB_LED2_GPIO_Port, RB_LED2_Pin);
	  }
	  else if(drone.status == ANGLE_STABILITY_FAULT){
		  HAL_GPIO_TogglePin(LF_LED1_GPIO_Port, LF_LED1_Pin);
		  HAL_GPIO_TogglePin(RF_LED1_GPIO_Port, RF_LED1_Pin);
		  HAL_GPIO_TogglePin(LB_LED2_GPIO_Port, LB_LED2_Pin);
		  HAL_GPIO_TogglePin(RB_LED2_GPIO_Port, RB_LED2_Pin);
	  }
  }
}

void HAL_TIM_OC_DelayElapsedCallback(TIM_HandleTypeDef *htim)
{
  if(htim->Instance == TIM8){
	  if(htim->Channel == HAL_TIM_ACTIVE_CHANNEL_2){
		  MPU6050_GetFullReadings();
	  }
	  else if(htim->Channel == HAL_TIM_ACTIVE_CHANNEL_3){

	  }
  }
}

void HAL_UART_RxCpltCallback(UART_HandleTypeDef *huart)
{
	if (huart->Instance == USART1){
		WT61_CheckProtocolHeader();
		WT61_CalculateFullAngles();
		angleZ = WT61_GetYawAngle();
		WT61_ReceiveDataPacket();
	}
	else if(huart->Instance == USART6){
		GAMEPAD_Update();
		DRONE_ReceiveCommand();
		PID_SetParameters(&roll_controller, gamepad.KP, 0.01f, 0.1f, 0.0f, roll);
		GAMEPAD_ReceiveData();
	}

}

void HAL_I2C_MemRxCpltCallback(I2C_HandleTypeDef *hi2c){
	if(hi2c->Instance == hi2c2.Instance){
		MPU6050_GetFilteredData(0.98f);
		DRONE_EmergencyStop(roll);
		DRONE_EmergencyStop(pitch);
		PID_Update(&roll_controller, roll, 0.001f);
		PID_Compute(&roll_controller);
		DRONE_OnFlight(1300 + drone.throttle);
//		DRONE_Hover(50 + drone.throttle);
	}
}

void DRONE_ESCSetUp(){
	/* Standard ESCs require 'arming' signal to get on working mode */
	/* Arming Signal: receive 50Hz signal - 1ms PWM time duration within at least 2 seconds */
	TIM1->CCR2 = 1000;
	TIM3->CCR1 = 1000;
	TIM3->CCR2 = 1000;
	TIM3->CCR3 = 1000;
	HAL_Delay(2500);
}

void DRONE_SetStatus(int8_t STATUS){
	/* Timer Frequency = 2Hz (Overflow every 500 milliseconds)
	 * APB Clock = 72 000 000 Hz (72MHz)
	 * ARR = 9000 - 1
	 * PRESCALER = 4000 - 1
	 *                           APB Clock
	   Timer Frequency  =  ---------------------
	 	 	 	 	 	   (ARR+1)*(PRESCALER+1)
	 */
	if(STATUS == SENSOR_CONNECTION_FAULT){
		drone.status = SENSOR_CONNECTION_FAULT;
		HAL_TIM_Base_Stop_IT(&htim4);
		TIM4->ARR = 8999;
		TIM4->PSC = 7999;
		HAL_TIM_Base_Start_IT(&htim4);
	}

	else if(STATUS == GAMEPAD_CONNECTION_FAULT){
		drone.status = GAMEPAD_CONNECTION_FAULT;
	}

	else if(STATUS == ANGLE_STABILITY_FAULT){
		drone.status = ANGLE_STABILITY_FAULT;
		DRONE_SetSpeed(MOTOR_LF, 1000);
		DRONE_SetSpeed(MOTOR_RF, 1000);
		DRONE_SetSpeed(MOTOR_LB, 1000);
		DRONE_SetSpeed(MOTOR_RB, 1000);
//		HAL_TIM_PWM_Stop(&htim1, TIM_CHANNEL_2);
//		HAL_TIM_PWM_Stop(&htim3, TIM_CHANNEL_1);
//		HAL_TIM_PWM_Stop(&htim3, TIM_CHANNEL_2);
//		HAL_TIM_PWM_Stop(&htim3, TIM_CHANNEL_3);
		HAL_TIM_Base_Stop_IT(&htim4);
		TIM4->ARR = 8999;
		TIM4->PSC = 799;
		HAL_TIM_Base_Start_IT(&htim4);
	}

	else if(STATUS == SENSOR_CALIBRATING){
		/* Toggle LED every 1000 milliseconds */
		drone.status = SENSOR_CALIBRATING;
		HAL_TIM_Base_Stop_IT(&htim4);
		TIM4->ARR = 8999;
		TIM4->PSC = 7999;
		HAL_TIM_Base_Start_IT(&htim4);
	}

	else if(STATUS == GAMEPAD_DISCOVERY){
		/* Toggle LED every 250 milliseconds */
		drone.status = GAMEPAD_DISCOVERY;
		HAL_TIM_Base_Stop_IT(&htim4);
		TIM4->ARR = 8999;
		TIM4->PSC = 1999;
		HAL_TIM_Base_Start_IT(&htim4);
	}

	else if(STATUS == LOCK){
		  drone.status = LOCK;
		  HAL_TIM_PWM_Stop(&htim1, TIM_CHANNEL_2);
		  HAL_TIM_PWM_Stop(&htim3, TIM_CHANNEL_1);
		  HAL_TIM_PWM_Stop(&htim3, TIM_CHANNEL_2);
		  HAL_TIM_PWM_Stop(&htim3, TIM_CHANNEL_3);
	}

	else if(STATUS == UNLOCKING){
		drone.status = UNLOCKING;
		HAL_TIM_PWM_Start(&htim1, TIM_CHANNEL_2);
		HAL_TIM_PWM_Start(&htim3, TIM_CHANNEL_1);
		HAL_TIM_PWM_Start(&htim3, TIM_CHANNEL_2);
		HAL_TIM_PWM_Start(&htim3, TIM_CHANNEL_3);
	}

	else if(STATUS == OK){
		/* Always turn LED on */
		drone.status = OK;
		HAL_TIM_Base_Stop_IT(&htim4);
		HAL_GPIO_WritePin(LED_GPIO_Port, LED_Pin, 1);
	}
}

void DRONE_SetSpeed(uint8_t MOTOR, uint16_t speed){
	if(speed < 1000){
		speed = 1000;
	}
	else if(speed > 2000){
		speed = 2000;
	}

	if(MOTOR == MOTOR_LF){
		drone.MOTOR_LF_SPEED = speed;
		TIM3->CCR2 = speed;
	}
	else if(MOTOR == MOTOR_RF){
		drone.MOTOR_RF_SPEED = speed;
		TIM3->CCR1 = speed;
	}
	else if(MOTOR == MOTOR_LB){
		drone.MOTOR_LB_SPEED = speed;
		TIM3->CCR3 = speed;
	}
	else if(MOTOR == MOTOR_RB){
		drone.MOTOR_RB_SPEED = speed;
		TIM1->CCR2 = speed;
	}

}

void DRONE_ReceiveCommand(){

	if(gamepad.LY > 200 && gamepad.RY > 200){
		if(drone.status == LOCK){
			DRONE_SetStatus(UNLOCKING);
		}
	}

	if(gamepad.R_SELECT == 1 && drone.status != OK){
	    PID_Init(&roll_controller, 1000.0f, 2000.0f);
		PID_SetParameters(&roll_controller, gamepad.KP, 0.01f, 0.1f, 0.0f, roll);
		DRONE_SetStatus(OK);
	}

	if(drone.status == OK){

		if(gamepad.L1 == 1 && gamepad.R1 == 1 && gamepad.L2 == 0 && gamepad.R2 == 0){
			if(drone.last_speed_up == 0){
				__HAL_TIM_SET_COUNTER(&htim9, 0);
				HAL_TIM_Base_Start(&htim9);
				duration = __HAL_TIM_GET_COUNTER(&htim9);
				drone.last_speed_up = 1;
			}
			else if(drone.last_speed_up == 1){
				duration = __HAL_TIM_GET_COUNTER(&htim9);
				if(duration > 5000){
					drone.throttle += 20;
					drone.last_speed_up = 0;
					HAL_TIM_Base_Stop(&htim9);

				}
			}
		}

		else if(gamepad.L1 == 0 && gamepad.R1 == 0 && gamepad.L2 == 1 && gamepad.R2 == 1){
			if(drone.last_speed_down == 0){
				__HAL_TIM_SET_COUNTER(&htim9, 0);
				HAL_TIM_Base_Start(&htim9);
				duration = __HAL_TIM_GET_COUNTER(&htim9);
				drone.last_speed_down = 1;
			}
			else if(drone.last_speed_down == 1){
				duration = __HAL_TIM_GET_COUNTER(&htim9);
				if(duration >= 5000){
					drone.throttle -= 20;
					HAL_TIM_Base_Stop(&htim9);
					drone.last_speed_down = 0;
				}
			}

		}

		else if (gamepad.L1 == 0 && gamepad.R1 == 0 && gamepad.L2 == 0 && gamepad.R2 == 0){

			if(drone.last_speed_up == 1 && duration < 5000){
				drone.last_speed_up = 0;
				HAL_TIM_Base_Stop(&htim9);
			}

			if(drone.last_speed_down == 1 && duration < 5000){
				drone.last_speed_down = 0;
				HAL_TIM_Base_Stop(&htim9);
			}
		}
	}
}

void DRONE_Hover(uint16_t throttle){
	DRONE_SetSpeed(MOTOR_LF, throttle);
	DRONE_SetSpeed(MOTOR_RF, throttle);
	DRONE_SetSpeed(MOTOR_LB, throttle);
	DRONE_SetSpeed(MOTOR_RB, throttle);
}

float DRONE_LimitThrottle(float throttle, float min_limit, float max_limit){
	if(throttle > max_limit){
		throttle = max_limit;
	}
	else if(throttle < min_limit){
		throttle = min_limit;
	}

	return throttle;
}

void DRONE_OnFlight(uint16_t throttle){
	if(drone.status == OK){
		roll_output = PID_Compute(&roll_controller);
		pitch_output = 0.0f;
		yaw_output = 0.0f;

		drone.MOTOR_RF_SPEED = DRONE_LimitThrottle(throttle - roll_output - pitch_output - yaw_output, 1200.0f, 2000.0f);
		drone.MOTOR_LF_SPEED = DRONE_LimitThrottle(throttle + roll_output - pitch_output + yaw_output, 1200.0f, 2000.0f);
		drone.MOTOR_RB_SPEED = DRONE_LimitThrottle(throttle - roll_output + pitch_output + yaw_output, 1200.0f, 2000.0f);
		drone.MOTOR_LB_SPEED = DRONE_LimitThrottle(throttle + roll_output + pitch_output - yaw_output, 1200.0f, 2000.0f);

		DRONE_SetSpeed(MOTOR_LF, (uint16_t)drone.MOTOR_LF_SPEED);
		DRONE_SetSpeed(MOTOR_RF, (uint16_t)drone.MOTOR_RF_SPEED);
		DRONE_SetSpeed(MOTOR_LB, (uint16_t)drone.MOTOR_LB_SPEED);
		DRONE_SetSpeed(MOTOR_RB, (uint16_t)drone.MOTOR_RB_SPEED);
	}

}

void DRONE_EmergencyStop(float angle){
	if(angle < -70.0f || angle > 70.0f){
		DRONE_SetStatus(ANGLE_STABILITY_FAULT);
	}
	if(gamepad.LY < 255 && gamepad.RY > 200 && drone.status == OK){
		DRONE_SetStatus(ANGLE_STABILITY_FAULT);
	}
}

void DRONE_GamepadDisconnectionFailSafe(){
	DRONE_SetStatus(GAMEPAD_CONNECTION_FAULT);
	gamepad.connection = 0;

}
/* USER CODE END 4 */

void Error_Handler(void)
{
  __disable_irq();
  while (1)
  {
  }
}
